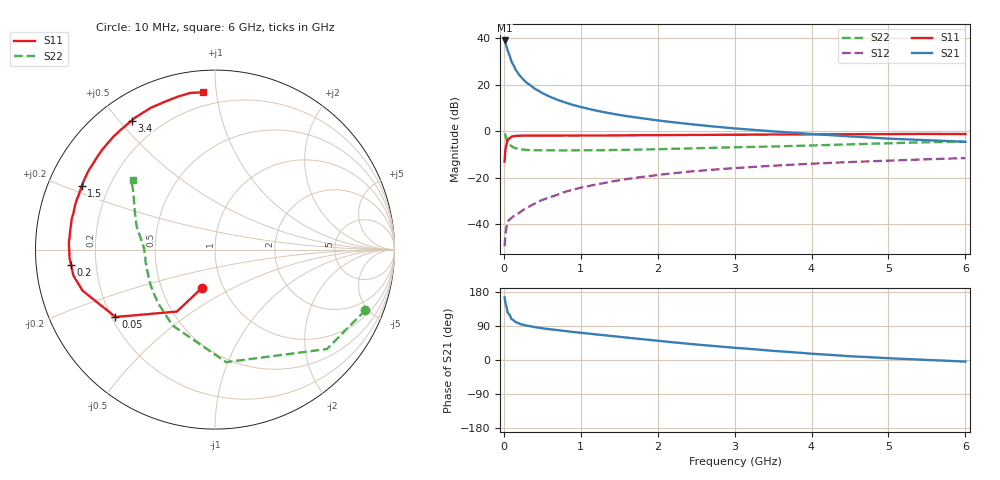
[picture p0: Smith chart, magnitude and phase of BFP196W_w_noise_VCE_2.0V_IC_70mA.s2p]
! Infineon Technologies  Discrete & RF Semiconductors
! BFP196W
! VCE =  2.0 V,  IC =  70 mA
! Common Emitter S-Parameters:  Jan 2017
# GHz  S  MA  R  50
!  f  S11  S21  S12  S22
! GHz  MAG  ANG  MAG  ANG  MAG  ANG  MAG  ANG
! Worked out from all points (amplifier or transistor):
!   77 points, 10 MHz to 6 GHz, reference 50 ohm
!   highest |S21| = 39.1 dB at 10 MHz (marker M1)
!   |S21| within 3 dB of that: start of sweep to 37.87 MHz
!   unconditionally stable (mu >= 1): 519.5 MHz to 3.398 GHz
!   at 130 MHz: K = 0.55, MSG = 32.3 dB, |S12| = -36.4 dB
!   at 2.2 GHz: K = 1.04, MAG = 9.8 dB, |S12| = -18.0 dB
!   at 6 GHz: K = 0.97, MSG = 3.5 dB, |S12| = -11.5 dB
!   lowest NFmin = 1.58 dB at 450 MHz
!   S11 on the Smith chart (normalised r, x): 10 MHz: 0.80, -0.36; 50 MHz: 0.22, -0.29; 200 MHz: 0.11, -0.05; 1.5 GHz: 0.10, +0.22; 3.4 GHz: 0.10, +0.54; 6 GHz: 0.12, +0.92
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0.01  0.2238 -108.6  90.6 165.1  0.0034 75.3  0.9033 -21.9
0.02  0.4054 -121.6  82.14 150.8  0.0061 68.7  0.8343 -41.6
0.05  0.6695 -145.9  54.72 124.8  0.0115 46.4  0.6303 -84.4
0.1  0.7727 -162.8  31.64 107.8  0.0138 42.4  0.484 -119.4
0.15  0.8021 -169.6  21.76 100.5  0.0162 44.4  0.4348 -137.0
0.2  0.8064 -173.9  16.46 96.1  0.0176 50.3  0.4162 -146.7
0.25  0.8118 -176.7  13.23 92.8  0.0204 52.9  0.4061 -153.3
0.3  0.8116 -178.9  11.05 90.6  0.0226 55.3  0.3997 -157.7
0.4  0.8153 177.5  8.341 86.7  0.0279 59.4  0.395 -163.7
0.5  0.8129 174.8  6.671 83.7  0.0336 62.4  0.3924 -167.6
0.6  0.8136 172.4  5.577 81.1  0.0384 63.7  0.3936 -170.4
0.7  0.8139 170.3  4.777 78.9  0.0437 65.2  0.391 -172.6
0.9  0.8143 165.8  3.716 74.0  0.0558 66.0  0.3922 -175.8
1.1  0.8182 162.0  3.065 69.7  0.0666 65.5  0.3937 -178.4
1.5  0.8223 154.6  2.266 61.2  0.0886 63.2  0.3995 177.1
2.1  0.8327 143.4  1.651 48.8  0.1206 57.8  0.4184 171.3
2.6  0.842 135.0  1.338 39.1  0.1449 53.0  0.4389 166.9
3.1  0.8495 127.3  1.128 30.8  0.1665 47.9  0.4594 162.4
3.4  0.8561 122.9  1.032 25.9  0.1787 45.2  0.4708 159.6
4.1  0.8671 113.2  0.86 15.4  0.2054 38.7  0.5041 152.8
5.1  0.878 102.5  0.69 3.8  0.2384 30.4  0.5623 144.2
6  0.8791 94.2  0.599 -4.2  0.2672 23.2  0.598 139.8
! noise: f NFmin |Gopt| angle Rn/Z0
0.45  1.58  0.55  -175  0.06
0.9  1.7  0.58  -169  0.07
1.9  2.54  0.7  -148  0.18
2.4  2.95  0.74  -143  0.3
